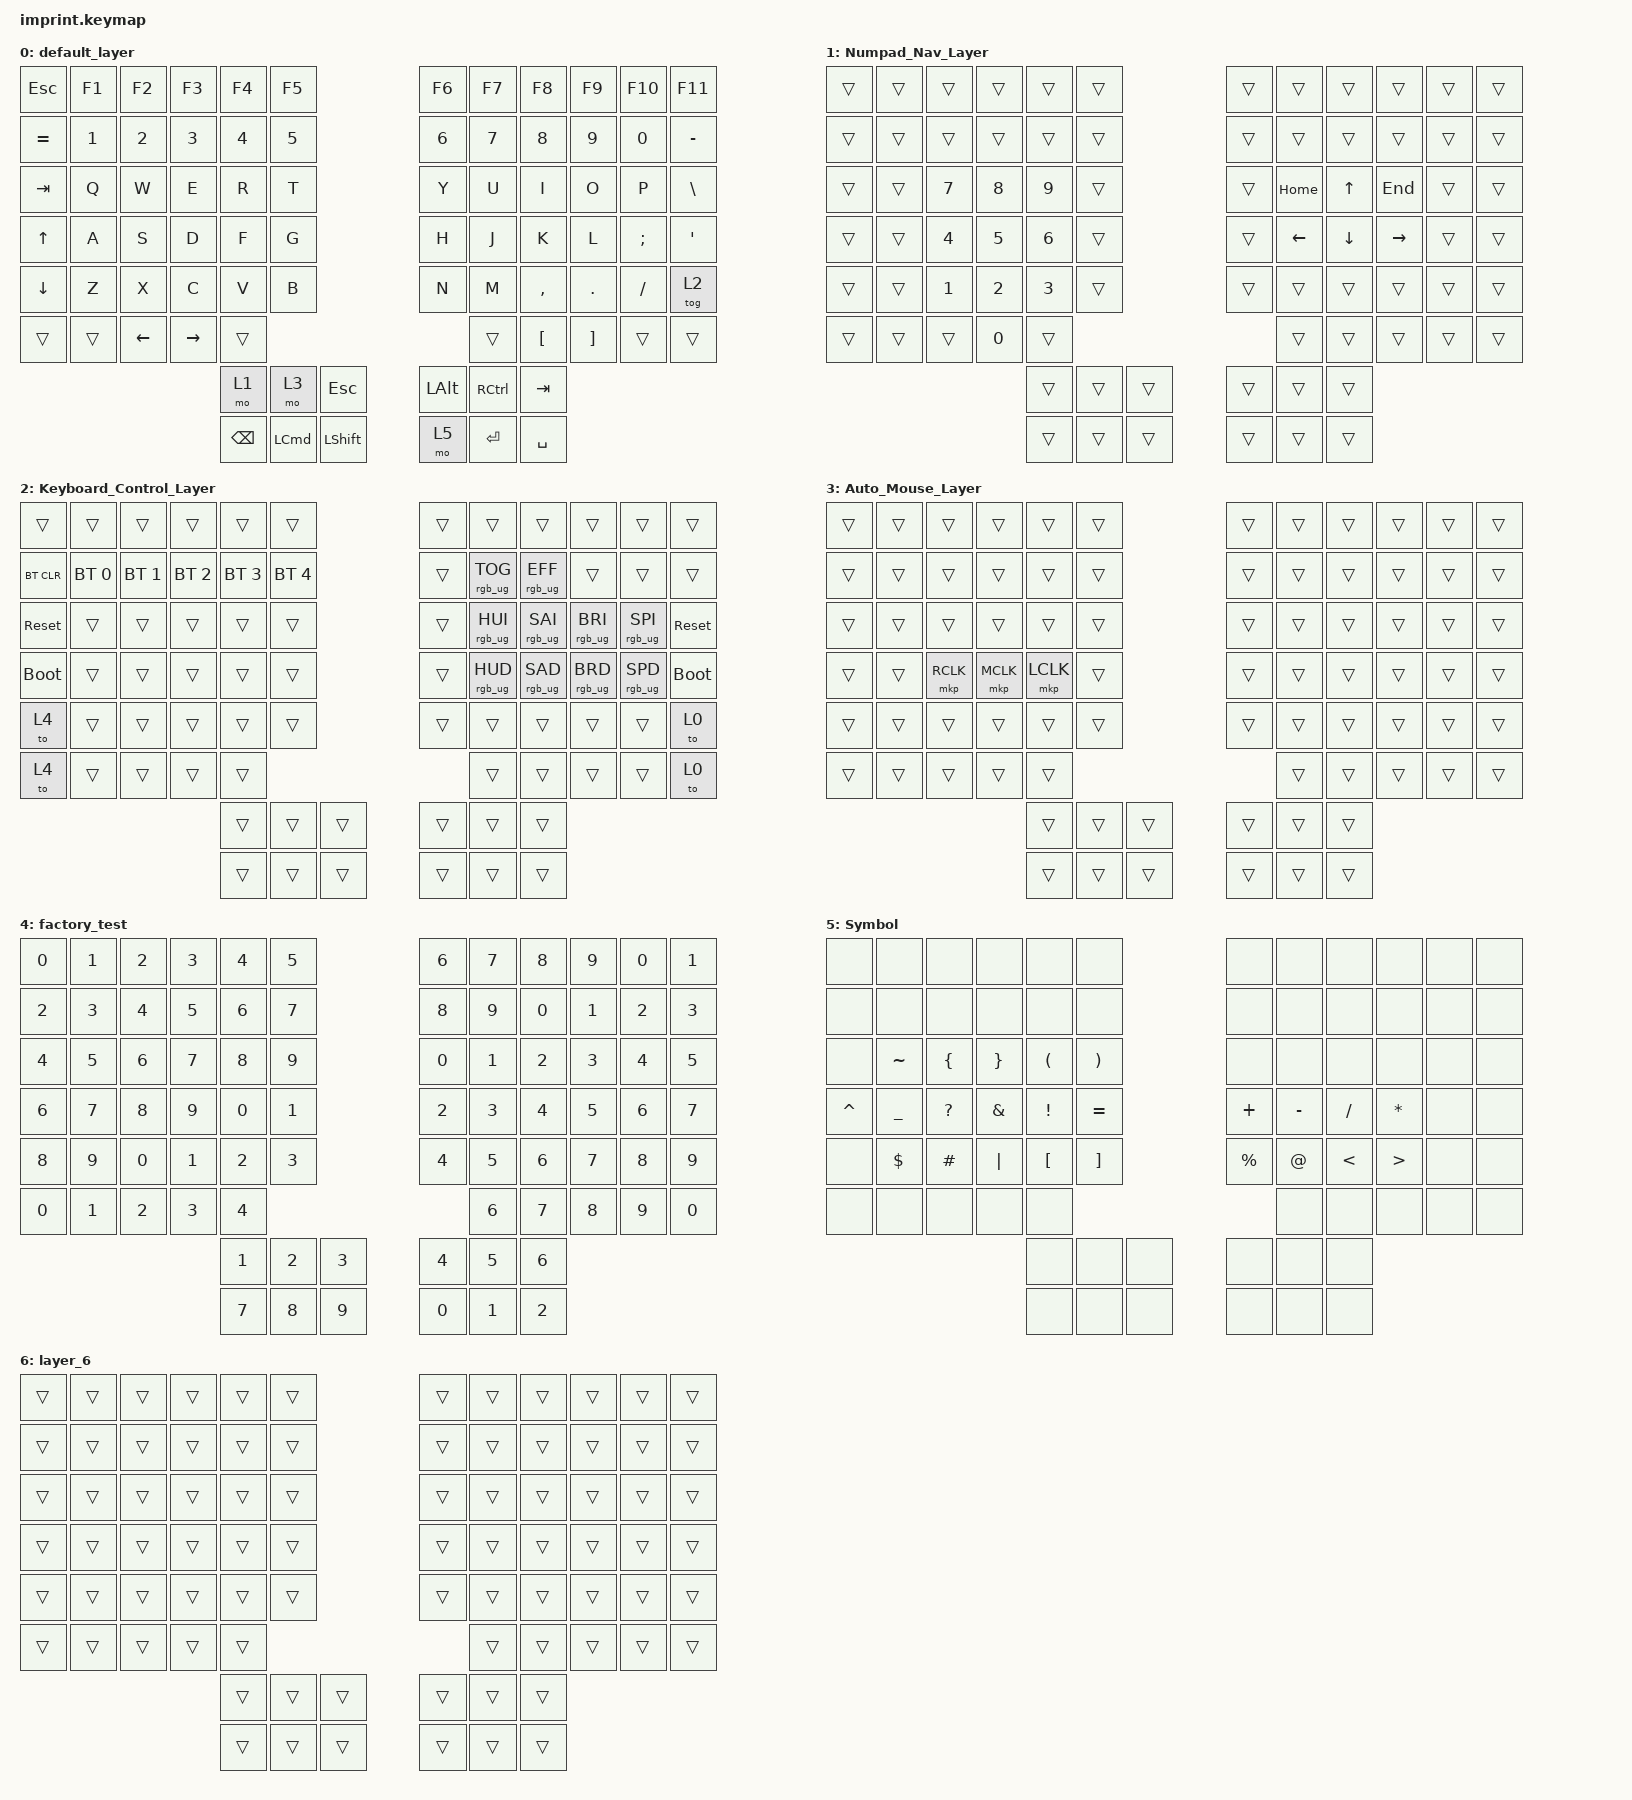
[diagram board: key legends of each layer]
#include <input/processors.dtsi>
#include <dt-bindings/zmk/input_transform.h>
#include <behaviors.dtsi>
#include <dt-bindings/zmk/bt.h>
#include <dt-bindings/zmk/keys.h>
#include <dt-bindings/zmk/pointing.h>
#include <dt-bindings/zmk/rgb.h>

/ {
    chosen { zmk,matrix-transform = &imprint_function_row_full_bottom_row; };

    keymap {
        compatible = "zmk,keymap";

        default_layer {
            bindings = <
&kp ESC       &kp F1  &kp F2          &kp F3     &kp F4         &kp F5                              &kp F6        &kp F7     &kp F8     &kp F9    &kp F10   &kp F11
&kp EQUAL     &kp N1  &kp N2          &kp N3     &kp N4         &kp N5                              &kp N6        &kp N7     &kp N8     &kp N9    &kp N0    &kp MINUS
&kp TAB       &kp Q   &kp W           &kp E      &kp R          &kp T                               &kp Y         &kp U      &kp I      &kp O     &kp P     &kp BSLH
&kp UP_ARROW  &kp A   &kp S           &kp D      &kp F          &kp G                               &kp H         &kp J      &kp K      &kp L     &kp SEMI  &kp SQT
&kp DOWN      &kp Z   &kp X           &kp C      &kp V          &kp B                               &kp N         &kp M      &kp COMMA  &kp DOT   &kp FSLH  &tog 2
&trans        &trans  &kp LEFT_ARROW  &kp RIGHT  &trans                                                           &trans     &kp LBKT   &kp RBKT  &trans    &trans
                                                 &mo 1          &mo 3             &kp ESC           &kp LEFT_ALT  &kp RCTRL  &kp TAB
                                                 &kp BACKSPACE  &kp LEFT_COMMAND  &kp LEFT_SHIFT    &mo 5         &kp ENTER  &kp SPACE
            >;
        };

        Numpad_Nav_Layer {
            bindings = <
&trans  &trans  &trans  &trans  &trans  &trans            &trans  &trans    &trans    &trans     &trans  &trans
&trans  &trans  &trans  &trans  &trans  &trans            &trans  &trans    &trans    &trans     &trans  &trans
&trans  &trans  &kp N7  &kp N8  &kp N9  &trans            &trans  &kp HOME  &kp UP    &kp END    &trans  &trans
&trans  &trans  &kp N4  &kp N5  &kp N6  &trans            &trans  &kp LEFT  &kp DOWN  &kp RIGHT  &trans  &trans
&trans  &trans  &kp N1  &kp N2  &kp N3  &trans            &trans  &trans    &trans    &trans     &trans  &trans
&trans  &trans  &trans  &kp N0  &trans                            &trans    &trans    &trans     &trans  &trans
                                &trans  &trans  &trans    &trans  &trans    &trans
                                &trans  &trans  &trans    &trans  &trans    &trans
            >;
        };

        Keyboard_Control_Layer {
            bindings = <
&trans       &trans        &trans        &trans        &trans        &trans                  &trans  &trans           &trans           &trans           &trans           &trans
&bt BT_CLR   &bt BT_SEL 0  &bt BT_SEL 1  &bt BT_SEL 2  &bt BT_SEL 3  &bt BT_SEL 4            &trans  &rgb_ug RGB_TOG  &rgb_ug RGB_EFF  &trans           &trans           &trans
&sys_reset   &trans        &trans        &trans        &trans        &trans                  &trans  &rgb_ug RGB_HUI  &rgb_ug RGB_SAI  &rgb_ug RGB_BRI  &rgb_ug RGB_SPI  &sys_reset
&bootloader  &trans        &trans        &trans        &trans        &trans                  &trans  &rgb_ug RGB_HUD  &rgb_ug RGB_SAD  &rgb_ug RGB_BRD  &rgb_ug RGB_SPD  &bootloader
&to 4        &trans        &trans        &trans        &trans        &trans                  &trans  &trans           &trans           &trans           &trans           &to 0
&to 4        &trans        &trans        &trans        &trans                                        &trans           &trans           &trans           &trans           &to 0
                                                       &trans        &trans        &trans    &trans  &trans           &trans
                                                       &trans        &trans        &trans    &trans  &trans           &trans
            >;
        };

        Auto_Mouse_Layer {
            bindings = <
&trans  &trans  &trans     &trans     &trans     &trans            &trans  &trans  &trans  &trans  &trans  &trans
&trans  &trans  &trans     &trans     &trans     &trans            &trans  &trans  &trans  &trans  &trans  &trans
&trans  &trans  &trans     &trans     &trans     &trans            &trans  &trans  &trans  &trans  &trans  &trans
&trans  &trans  &mkp RCLK  &mkp MCLK  &mkp LCLK  &trans            &trans  &trans  &trans  &trans  &trans  &trans
&trans  &trans  &trans     &trans     &trans     &trans            &trans  &trans  &trans  &trans  &trans  &trans
&trans  &trans  &trans     &trans     &trans                               &trans  &trans  &trans  &trans  &trans
                                      &trans     &trans  &trans    &trans  &trans  &trans
                                      &trans     &trans  &trans    &trans  &trans  &trans
            >;
        };

        factory_test {
            bindings = <
&kp N0  &kp N1  &kp N2  &kp N3  &kp N4  &kp N5            &kp N6  &kp N7  &kp N8  &kp N9  &kp N0  &kp N1
&kp N2  &kp N3  &kp N4  &kp N5  &kp N6  &kp N7            &kp N8  &kp N9  &kp N0  &kp N1  &kp N2  &kp N3
&kp N4  &kp N5  &kp N6  &kp N7  &kp N8  &kp N9            &kp N0  &kp N1  &kp N2  &kp N3  &kp N4  &kp N5
&kp N6  &kp N7  &kp N8  &kp N9  &kp N0  &kp N1            &kp N2  &kp N3  &kp N4  &kp N5  &kp N6  &kp N7
&kp N8  &kp N9  &kp N0  &kp N1  &kp N2  &kp N3            &kp N4  &kp N5  &kp N6  &kp N7  &kp N8  &kp N9
&kp N0  &kp N1  &kp N2  &kp N3  &kp N4                            &kp N6  &kp N7  &kp N8  &kp N9  &kp N0
                                &kp N1  &kp N2  &kp N3    &kp N4  &kp N5  &kp N6
                                &kp N7  &kp N8  &kp N9    &kp N0  &kp N1  &kp N2
            >;
        };

        Symbol {
            bindings = <
&none      &none           &none           &none            &none                 &none                           &none        &none        &none          &none             &none  &none
&none      &none           &none           &none            &none                 &none                           &none        &none        &none          &none             &none  &none
&none      &kp TILDE       &kp LEFT_BRACE  &kp RIGHT_BRACE  &kp LEFT_PARENTHESIS  &kp RIGHT_PARENTHESIS           &none        &none        &none          &none             &none  &none
&kp CARET  &kp UNDERSCORE  &kp QUESTION    &kp AMPERSAND    &kp EXCLAMATION       &kp EQUAL                       &kp PLUS     &kp MINUS    &kp SLASH      &kp ASTERISK      &none  &none
&none      &kp DOLLAR      &kp HASH        &kp PIPE         &kp LEFT_BRACKET      &kp RIGHT_BRACKET               &kp PERCENT  &kp AT_SIGN  &kp LESS_THAN  &kp GREATER_THAN  &none  &none
&none      &none           &none           &none            &none                                                              &none        &none          &none             &none  &none
                                                            &none                 &none                  &none    &none        &none        &none
                                                            &none                 &none                  &none    &none        &none        &none
            >;
        };

        layer_6 {
            bindings = <
&trans  &trans  &trans  &trans  &trans  &trans            &trans  &trans  &trans  &trans  &trans  &trans
&trans  &trans  &trans  &trans  &trans  &trans            &trans  &trans  &trans  &trans  &trans  &trans
&trans  &trans  &trans  &trans  &trans  &trans            &trans  &trans  &trans  &trans  &trans  &trans
&trans  &trans  &trans  &trans  &trans  &trans            &trans  &trans  &trans  &trans  &trans  &trans
&trans  &trans  &trans  &trans  &trans  &trans            &trans  &trans  &trans  &trans  &trans  &trans
&trans  &trans  &trans  &trans  &trans                            &trans  &trans  &trans  &trans  &trans
                                &trans  &trans  &trans    &trans  &trans  &trans
                                &trans  &trans  &trans    &trans  &trans  &trans
            >;
        };
    };
};

// right hand trackball configuration

&trackball_peripheral_listener { input-processors = <&zip_temp_layer 3 500>; };

//left hand trackball configuration

&trackball_central_listener {
    input-processors =
        // multiply sensitivity by 1, divide by 3 (make it slower for scrolling),,,
        <&zip_xy_scaler 1 3>,
        // make this trackball output scrolling events by default instead of cursor movement,,,
        <&zip_xy_to_scroll_mapper>,
        // invert vertical scrolling so that the view moves in the same direction as the top of the trackball.,,,
        <&zip_scroll_transform INPUT_TRANSFORM_Y_INVERT>;
};
